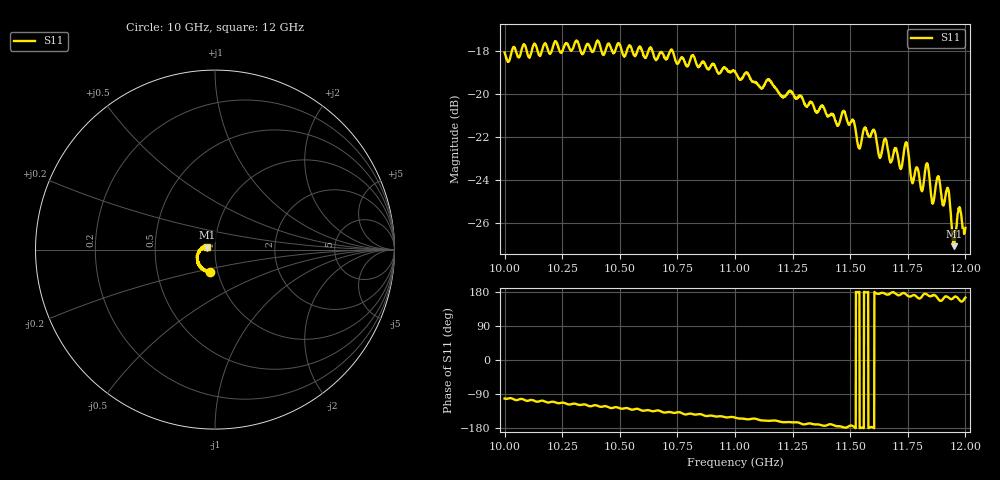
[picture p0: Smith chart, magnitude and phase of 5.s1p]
[Version] 2.0
! Rohde & Schwarz Vector Network Analyzer
! Rohde-Schwarz,ZNL20-2Port,1323001220200009,1.71.1.10-23.02.1.238
! Port Assignments:
! Nominal Port -> Actual Test Port
!  1 -> 1
! Created: GMT 2024-09-04 10:31:32
# Hz S DB R 50
[Number of Ports] 1
! freq[Hz]  S11[mag dB]  S11[ang]
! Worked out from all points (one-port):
!   2001 points, 10 GHz to 12 GHz, reference 50 ohm
!   lowest |S11| = -27.1 dB at 11.95 GHz (marker M1), VSWR 1.09, Z = 45.9 + j1.04 ohm
!   |S11| at or under -10 dB: start of sweep to end of sweep
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[Number of Frequencies] 28
[Network Data]
1e10  -18.08 -101.7
1.025e10  -18.02 -112.5
1.05e10  -17.71 -127.3
1.0724e10  -17.94 -138.1
1.075e10  -18.59 -138.1
1.1e10  -18.94 -151.7
1.125e10  -19.96 -164.4
1.15e10  -21.37 -173.0
1.1539e10  -22.49 179.9
1.1565e10  -21.58 179.0
1.1604e10  -21.69 -179.9
1.1628e10  -22.95 175.3
1.1652e10  -22.11 174.5
1.1674e10  -23.16 175.9
1.1697e10  -22.53 174.9
1.1718e10  -23.41 172.4
1.175e10  -22.51 169.5
1.177e10  -24.15 170.3
1.179e10  -23.41 166.1
1.1812e10  -24.52 168.0
1.1833e10  -23.24 173.1
1.1858e10  -25.06 170.5
1.1881e10  -23.83 161.9
1.1903e10  -25.12 160.7
1.1923e10  -24.40 166.2
1.195e10  -27.07 165.3
1.1973e10  -25.32 159.1
1.2e10  -26.22 164.8
[End]
